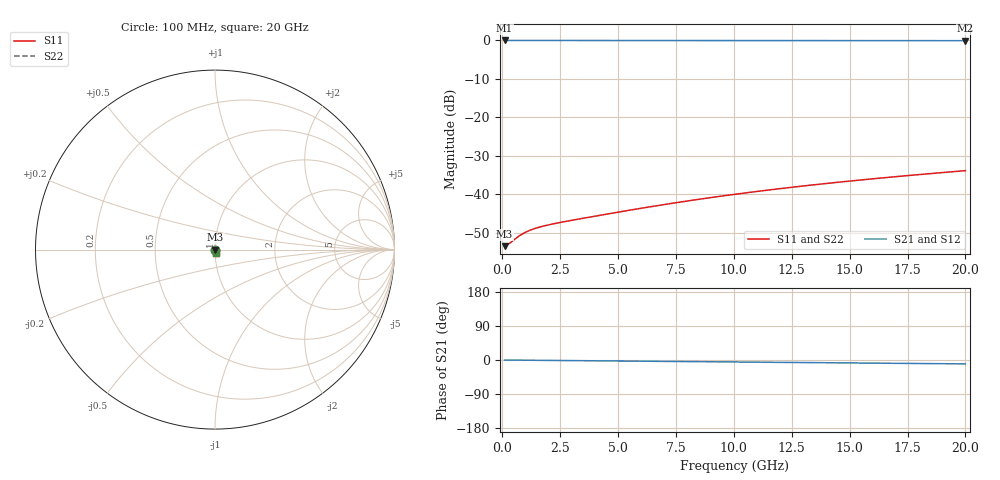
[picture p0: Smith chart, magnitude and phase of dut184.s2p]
! Touchstone file exported from HFSS 2026.1.0
!  File:  C:/ffzhzh/LocalFiles/Ansys_Project_Files/temp_train_BSMRDL_184_1782987246_45328.aedt
!  Generated:  06:15:45 PM Jul  2, 2026
!  Design:  BSMRDL
!  Project:  temp_train_BSMRDL_184_1782987246_45328
! Variables:
!  h_bsmrdl = 2.06um
!  h_ox = 20um
!  h_rdl = 5um
!  h_sub = 80um
!  h_tmrdl = 5um
!  h_tsv = 80um
!  h_via = 3um
!  l_bsmrdl = 174.22um
!  l_sub = 574.22um
!  l_tmrdl = 200um
!  m_sub = 200um
!  pitch = 19.12um
!  r_tsv = 6um
!  s_tmrdl = 10um
!  w_bsmrdl = 17.37um
!  w_sub = 500um
!  w_tmrdl = 12um
!  x_tsv_center1 = 206um
!  x_tsv_center2 = 397.59um
!  x_tsv_center3 = 609.59um
!  x_tsv_center4 = 801.18um
!  x_tsv_center5 = 1013.18um
!  x_tsv_center6 = 1204.77um
# GHz S MA R 50.000000
! Terminal data exported
! Port[1] = BSM_RDL1_1_T1
! Port[2] = BSM_RDL1_1_T2
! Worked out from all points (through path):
!   200 points, 100 MHz to 20 GHz, reference 50 ohm
!   highest |S21| = -0.02 dB at 100 MHz (marker M1); lowest = -0.1 dB at 20 GHz (marker M2)
!   group delay of S21, straight-line fit = 1.42 ps
!   lowest |S11| = -53.5 dB at 100 MHz (marker M3), VSWR 1.00, Z = 50.2 + j0.0137 ohm
!   |S11| at or under -10 dB: start of sweep to end of sweep
!   |S22| runs from -53.5 to -33.9 dB; largest |S21 - S12| = 3.2e-15
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0.1  0.002114 3.7  0.9979 -0.1  0.9979 -0.1  0.002114 3.7
! Gamma 0 0 0 0
! Port Impedance 50 0 50 0
0.2  0.002183 6.9  0.9978 -0.1  0.9978 -0.1  0.002183 6.9
0.3  0.002287 9.3  0.9977 -0.2  0.9977 -0.2  0.002287 9.3
0.6  0.002694 11.3  0.9974 -0.4  0.9974 -0.4  0.002694 11.3
0.8  0.002965 9.7  0.9971 -0.5  0.9971 -0.5  0.002965 9.7
1  0.003203 7.1  0.9968 -0.6  0.9968 -0.6  0.003203 7.1
1.3  0.003498 2.4  0.9965 -0.7  0.9965 -0.7  0.003498 2.4
1.5  0.003661 -0.8  0.9963 -0.8  0.9963 -0.8  0.003661 -0.8
1.7  0.003806 -3.9  0.9962 -1.0  0.9962 -1.0  0.003806 -3.9
2.1  0.004062 -9.6  0.996 -1.2  0.996 -1.2  0.004061 -9.6
2.6  0.004354 -16.0  0.9958 -1.4  0.9958 -1.4  0.004353 -16.0
3.5  0.004878 -25.6  0.9955 -1.9  0.9955 -1.9  0.004877 -25.6
5.3  0.006061 -39.2  0.9951 -2.8  0.9951 -2.8  0.006058 -39.2
6.8  0.007195 -47.1  0.9948 -3.6  0.9948 -3.6  0.007191 -47.1
8.4  0.008524 -53.3  0.9944 -4.4  0.9944 -4.4  0.008519 -53.4
10.1  0.01004 -58.4  0.9939 -5.3  0.9939 -5.3  0.01003 -58.4
11.7  0.01154 -62.1  0.9935 -6.1  0.9935 -6.1  0.01153 -62.2
13.4  0.01321 -65.4  0.993 -6.9  0.993 -6.9  0.0132 -65.5
15  0.01484 -68.0  0.9925 -7.8  0.9925 -7.8  0.01482 -68.1
16.7  0.01662 -70.3  0.992 -8.6  0.992 -8.6  0.0166 -70.4
18.3  0.01835 -72.2  0.9914 -9.4  0.9914 -9.4  0.01833 -72.3
20  0.02025 -74.0  0.9908 -10.3  0.9908 -10.3  0.02023 -74.1
